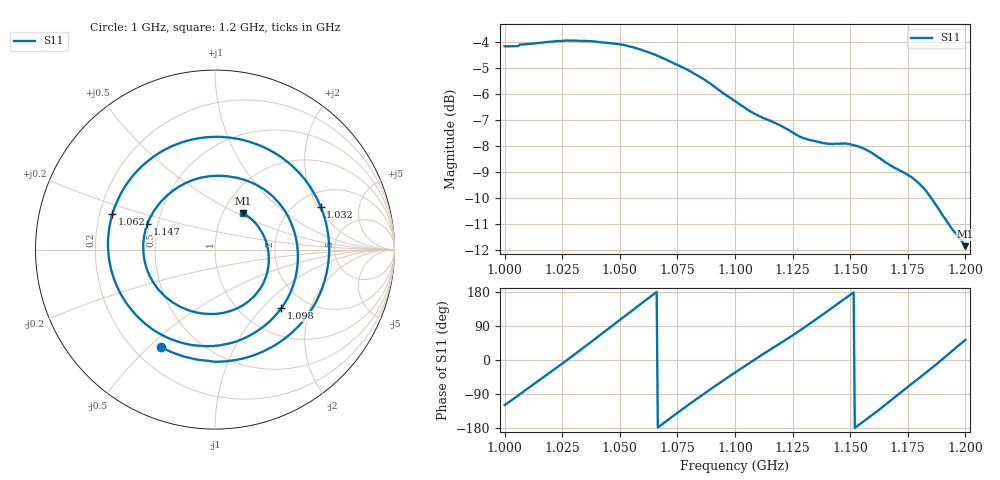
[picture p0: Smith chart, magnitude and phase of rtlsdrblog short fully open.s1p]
! NanoVNA-App
! Date: 2026-05-22 22:10:48
! Start: 1GHz Stop: 1.2GHz Points: 401
! S-Parameter data: F S11
# Hz S RI R 50
!  Frequency  S11_Real  S11_Imag
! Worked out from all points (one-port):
!   401 points, 1 GHz to 1.2 GHz, reference 50 ohm
!   lowest |S11| = -11.9 dB at 1.2 GHz (marker M1), VSWR 1.69, Z = 61.7 + j26.9 ohm
!   |S11| at or under -10 dB: 1.185 GHz to end of sweep
!   S11 on the Smith chart (normalised r, x): 1 GHz: 0.31, -0.55; 1.032 GHz: 2.63, +2.11; 1.062 GHz: 0.25, +0.16; 1.098 GHz: 1.51, -1.30; 1.147 GHz: 0.44, +0.15; 1.2 GHz: 1.23, +0.54
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1e9  -0.2996 -0.5432
1.0065e9  -0.00533 -0.6247
1.012e9  0.2457 -0.5768
1.019e9  0.511 -0.3722
1.025e9  0.6262 -0.1047
1.032e9  0.5886 0.239
1.0415e9  0.2564 0.5774
1.05e9  -0.1679 0.6027
1.0565e9  -0.4413 0.4301
1.062e9  -0.5722 0.1966
1.068e9  -0.5833 -0.089
1.075e9  -0.4341 -0.3707
1.0805e9  -0.2361 -0.5027
1.086e9  -0.0126 -0.5374
1.0915e9  0.1918 -0.4795
1.098e9  0.3705 -0.3257
1.1e9  0.4074 -0.2657
1.1115e9  0.4415 0.1004
1.125e9  0.1793 0.3832
1.1355e9  -0.13 0.3848
1.147e9  -0.3762 0.1441
1.15e9  -0.3973 0.0568
1.157e9  -0.3602 -0.1539
1.164e9  -0.2097 -0.3098
1.175e9  0.1149 -0.3313
1.1815e9  0.2553 -0.2123
1.187e9  0.2999 -0.0692
1.2e9  0.1542 0.2037
